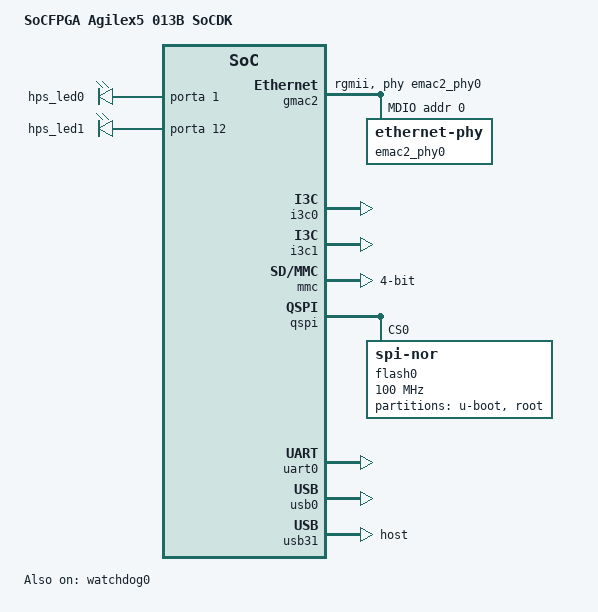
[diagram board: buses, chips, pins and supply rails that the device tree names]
// SPDX-License-Identifier:     GPL-2.0
/*
 * Copyright (C) 2025 Altera Corporation <www.altera.com>
 */

#include "socfpga_agilex5.dtsi"

/ {
	model = "SoCFPGA Agilex5 013B SoCDK";

	aliases {
		serial0 = &uart0;
		ethernet0 = &gmac0;
		ethernet1 = &gmac1;
		ethernet2 = &gmac2;
	};

	chosen {
		stdout-path = "serial0:115200n8";
	};

	leds {
		compatible = "gpio-leds";

		led0 {
			label = "hps_led0";
			gpios = <&porta 1 GPIO_ACTIVE_HIGH>;
		};

		led1 {
			label = "hps_led1";
			gpios = <&porta 12 GPIO_ACTIVE_HIGH>;
		};

	};

	memory {
		device_type = "memory";
		/* We expect the bootloader to fill in the reg */
		reg = <0 0 0 0>;
	};
};

&gpio0 {
	status = "okay";
};

&gpio1 {
	status = "okay";
};

&gmac2 {
	status = "okay";
	/* No PCB-induced RGMII delays; clock and data skew are added on the
	 * PHY side via the rx*-skew-ps / tx*-skew-ps properties below.
	 */
	phy-mode = "rgmii";
	phy-handle = <&emac2_phy0>;
	max-frame-size = <9000>;
	mdio0 {
		#address-cells = <1>;
		#size-cells = <0>;
		compatible = "snps,dwmac-mdio";
		emac2_phy0: ethernet-phy@0 {
			reg = <0>;
			rxc-skew-ps = <0>;
			rxdv-skew-ps = <0>;
			rxd0-skew-ps = <0>;
			rxd1-skew-ps = <0>;
			rxd2-skew-ps = <0>;
			rxd3-skew-ps = <0>;
			txc-skew-ps = <0>;
			txen-skew-ps = <60>;
			txd0-skew-ps = <60>;
			txd1-skew-ps = <60>;
			txd2-skew-ps = <60>;
			txd3-skew-ps = <60>;
		};
	};
};

&i3c0 {
	status = "okay";
};

&i3c1 {
	status = "okay";
};

&mmc {
	status = "okay";
	bus-width = <4>;
	no-1-8-v;
	cap-sd-highspeed;
	cap-mmc-highspeed;
	disable-wp;
	sd-uhs-sdr50;
	cdns,phy-use-ext-lpbk-dqs = <1>;
	cdns,phy-use-lpbk-dqs = <1>;
	cdns,phy-use-phony-dqs = <1>;
	cdns,phy-use-phony-dqs-cmd = <1>;
	cdns,phy-io-mask-always-on = <0>;
	cdns,phy-io-mask-end = <5>;
	cdns,phy-io-mask-start = <0>;
	cdns,phy-data-select-oe-end = <1>;
	cdns,phy-sync-method = <1>;
	cdns,phy-sw-half-cycle-shift = <0>;
	cdns,phy-rd-del-sel = <52>;
	cdns,phy-underrun-suppress = <1>;
	cdns,phy-gate-cfg-always-on = <1>;
	cdns,phy-param-dll-bypass-mode = <1>;
	cdns,phy-param-phase-detect-sel = <2>;
	cdns,phy-param-dll-start-point = <254>;
	cdns,phy-read-dqs-cmd-delay = <0>;
	cdns,phy-clk-wrdqs-delay = <0>;
	cdns,phy-clk-wr-delay = <0>;
	cdns,phy-read-dqs-delay = <0>;
	cdns,phy-phony-dqs-timing = <0>;
	cdns,hrs09-rddata-en = <1>;
	cdns,hrs09-rdcmd-en = <1>;
	cdns,hrs09-extended-wr-mode = <1>;
	cdns,hrs09-extended-rd-mode = <1>;
	cdns,hrs10-hcsdclkadj = <3>;
	cdns,hrs16-wrdata1-sdclk-dly = <0>;
	cdns,hrs16-wrdata0-sdclk-dly = <0>;
	cdns,hrs16-wrcmd1-sdclk-dly = <0>;
	cdns,hrs16-wrcmd0-sdclk-dly = <0>;
	cdns,hrs16-wrdata1-dly = <0>;
	cdns,hrs16-wrdata0-dly = <0>;
	cdns,hrs16-wrcmd1-dly = <0>;
	cdns,hrs16-wrcmd0-dly = <0>;
	cdns,hrs07-rw-compensate = <10>;
	cdns,hrs07-idelay-val = <0>;
};

&osc1 {
	clock-frequency = <25000000>;
};

&qspi {
	status = "okay";
	cdns,fifo-depth = <0x400>;
	flash0: flash@0 {
		#address-cells = <1>;
		#size-cells = <1>;
		compatible = "jedec,spi-nor";
		reg = <0>;
		spi-max-frequency = <100000000>;
		m25p,fast-read;
		cdns,read-delay = <2>;
		cdns,tshsl-ns = <50>;
		cdns,tsd2d-ns = <50>;
		cdns,tchsh-ns = <4>;
		cdns,tslch-ns = <4>;
		spi-tx-bus-width=<4>;
		spi-rx-bus-width=<4>;

		partitions {
			compatible = "fixed-partitions";
			#address-cells = <1>;
			#size-cells = <1>;
			rsu-handle = <&qspi_boot>;

			qspi_boot: partition@0 {
				label = "u-boot";
				reg = <0x0 0x00c00000>;
			};

			root: partition@c00000 {
				label = "root";
				reg = <0x00c00000 0x03400000>;
			};
		};
	};
};

&smmu {
	status = "okay";
};

&uart0 {
	status = "okay";
};

&usb0 {
	status = "okay";
	disable-over-current;
};

&usb31 {
	status = "okay";
	dr_mode = "host";
	maximum-speed = "high-speed";
};

&watchdog0 {
	status = "okay";
};
